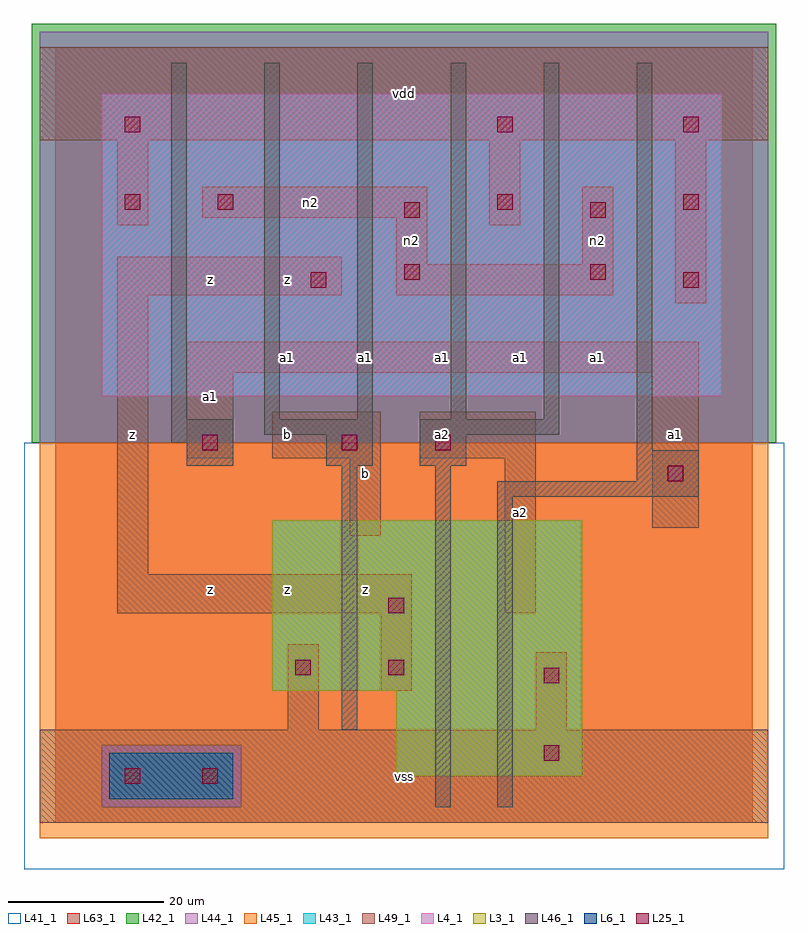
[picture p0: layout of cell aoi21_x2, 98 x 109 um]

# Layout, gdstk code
import gdstk
lib = gdstk.Library(unit=1e-6, precision=1e-09)
def R(c, l, rs):  # rectangles x0, y0, x1, y1
    for r in rs: c.add(gdstk.rectangle(r[:2], r[2:], *l))
def A(c, l, x, y, w, h, nx, ny, dx, dy):  # array of equal rectangles
    R(c, l, [(x+i*dx, y+j*dy, x+i*dx+w, y+j*dy+h) for i in range(nx) for j in range(ny)])
L3_1 = (3, 1)
L4_1 = (4, 1)
L6_1 = (6, 1)
L25_1 = (25, 1)
L41_1 = (41, 1)
L42_1 = (42, 1)
L43_1 = (43, 1)
L44_1 = (44, 1)
L45_1 = (45, 1)
L46_1 = (46, 1)
L49_1 = (49, 1)
L63_1 = (63, 1)

aoi21_x2 = lib.new_cell('aoi21_x2')
R(aoi21_x2, L3_1, [(44,6,68,17), (28,17,68,39)])
R(aoi21_x2, L4_1, [(6,55,86,94)])
R(aoi21_x2, L6_1, [(7,3,23,9)])
A(aoi21_x2, L25_1, 81, 69, 2, 2, 1, 3, 0, 10)
R(aoi21_x2, L25_1, [(9,5,11,7), (19,5,21,7), (63,8,65,10), (63,18,65,20), (31,19,33,21), (43,19,45,21), (43,27,45,29), (79,44,81,46), (19,48,21,50), (37,48,39,50), (49,48,51,50), (33,69,35,71), (45,70,47,72), (69,70,71,72), (45,78,47,80), (69,78,71,80), (9,79,11,81), (21,79,23,81), (57,79,59,81), (9,89,11,91), (57,89,59,91)])
R(aoi21_x2, L41_1, [(-4,-6,94,49), (-3,-3,93,49)])
R(aoi21_x2, L42_1, [(-3,49,93,103)])
R(aoi21_x2, L43_1, [(7,3,23,9), (44,6,68,17), (28,17,68,39), (6,55,86,94)])
R(aoi21_x2, L44_1, [(6,2,24,10), (-2,49,92,102)])
R(aoi21_x2, L45_1, [(-2,-2,92,2), (-2,2,6,10), (24,2,92,10), (-2,10,92,49)])
A(aoi21_x2, L46_1, 15, 52, 2, 46, 5, 1, 12, 0)
R(aoi21_x2, L46_1, [(49,2,51,46), (57,2,59,42), (37,12,39,46), (57,42,83,44), (75,44,83,48), (17,46,23,49), (35,46,41,50), (47,46,53,50), (75,48,77,98), (15,49,23,52), (27,50,41,52), (47,50,65,52)])
R(aoi21_x2, L49_1, [(-2,0,92,12), (30,12,34,23), (62,12,66,22), (42,17,46,27), (8,27,46,32), (58,27,62,47), (8,32,12,68), (38,37,42,47), (77,38,83,58), (17,47,23,58), (28,47,42,53), (47,47,62,53), (17,58,83,62), (80,67,84,88), (8,68,37,73), (44,68,72,72), (44,72,48,78), (68,72,72,82), (8,77,12,88), (56,77,60,88), (19,78,48,82), (-2,88,92,100)])
R(aoi21_x2, L63_1, [(0,0,90,100)])
aoi21_x2.add(gdstk.Label('z', (10,50), layer=49, texttype=1))
aoi21_x2.add(gdstk.Label('z', (10,50), layer=49, texttype=1))
aoi21_x2.add(gdstk.Label('z', (20,30), layer=49, texttype=1))
aoi21_x2.add(gdstk.Label('z', (20,30), layer=49, texttype=1))
aoi21_x2.add(gdstk.Label('z', (30,30), layer=49, texttype=1))
aoi21_x2.add(gdstk.Label('z', (30,30), layer=49, texttype=1))
aoi21_x2.add(gdstk.Label('a1', (20,55), layer=49, texttype=1))
aoi21_x2.add(gdstk.Label('a1', (20,55), layer=49, texttype=1))
aoi21_x2.add(gdstk.Label('b', (30,50), layer=49, texttype=1))
aoi21_x2.add(gdstk.Label('b', (30,50), layer=49, texttype=1))
aoi21_x2.add(gdstk.Label('a1', (30,60), layer=49, texttype=1))
aoi21_x2.add(gdstk.Label('a1', (30,60), layer=49, texttype=1))
aoi21_x2.add(gdstk.Label('z', (20,70), layer=49, texttype=1))
aoi21_x2.add(gdstk.Label('z', (20,70), layer=49, texttype=1))
aoi21_x2.add(gdstk.Label('z', (30,70), layer=49, texttype=1))
aoi21_x2.add(gdstk.Label('z', (30,70), layer=49, texttype=1))
aoi21_x2.add(gdstk.Label('vss', (45,6), layer=49, texttype=1))
aoi21_x2.add(gdstk.Label('vss', (45,6), layer=49, texttype=1))
aoi21_x2.add(gdstk.Label('z', (40,30), layer=49, texttype=1))
aoi21_x2.add(gdstk.Label('z', (40,30), layer=49, texttype=1))
aoi21_x2.add(gdstk.Label('b', (40,45), layer=49, texttype=1))
aoi21_x2.add(gdstk.Label('a2', (50,50), layer=49, texttype=1))
aoi21_x2.add(gdstk.Label('a2', (50,50), layer=49, texttype=1))
aoi21_x2.add(gdstk.Label('b', (40,45), layer=49, texttype=1))
aoi21_x2.add(gdstk.Label('a1', (40,60), layer=49, texttype=1))
aoi21_x2.add(gdstk.Label('a1', (50,60), layer=49, texttype=1))
aoi21_x2.add(gdstk.Label('a1', (50,60), layer=49, texttype=1))
aoi21_x2.add(gdstk.Label('a1', (40,60), layer=49, texttype=1))
aoi21_x2.add(gdstk.Label('n2', (46,75), layer=49, texttype=1))
aoi21_x2.add(gdstk.Label('n2', (33,80), layer=49, texttype=1))
aoi21_x2.add(gdstk.Label('vdd', (45,94), layer=49, texttype=1))
aoi21_x2.add(gdstk.Label('vdd', (45,94), layer=49, texttype=1))
aoi21_x2.add(gdstk.Label('a2', (60,40), layer=49, texttype=1))
aoi21_x2.add(gdstk.Label('a2', (60,40), layer=49, texttype=1))
aoi21_x2.add(gdstk.Label('a1', (60,60), layer=49, texttype=1))
aoi21_x2.add(gdstk.Label('a1', (70,60), layer=49, texttype=1))
aoi21_x2.add(gdstk.Label('a1', (60,60), layer=49, texttype=1))
aoi21_x2.add(gdstk.Label('a1', (70,60), layer=49, texttype=1))
aoi21_x2.add(gdstk.Label('n2', (70,75), layer=49, texttype=1))
aoi21_x2.add(gdstk.Label('a1', (80,50), layer=49, texttype=1))
aoi21_x2.add(gdstk.Label('a1', (80,50), layer=49, texttype=1))

lib.write_gds('aoi21_x2.gds')
